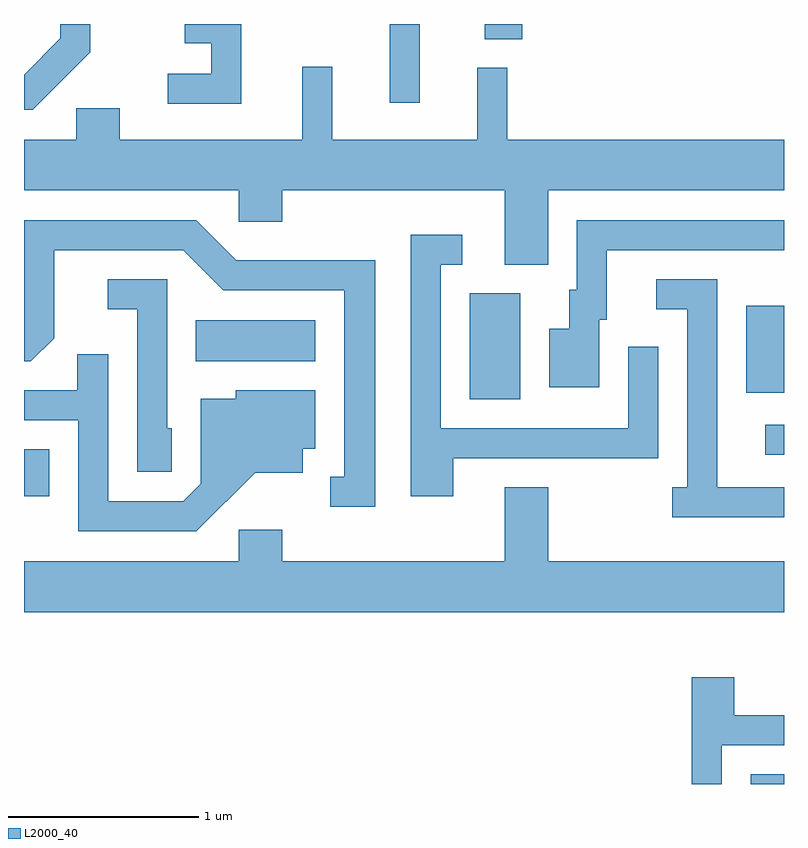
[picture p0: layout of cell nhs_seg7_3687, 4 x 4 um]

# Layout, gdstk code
import gdstk
lib = gdstk.Library(unit=1e-6, precision=1e-09)
def R(c, l, rs):  # rectangles x0, y0, x1, y1
    for r in rs: c.add(gdstk.rectangle(r[:2], r[2:], *l))
def P(c, l, *ps):  # polygons
    for p in ps: c.add(gdstk.Polygon(p, *l))
L2000_40 = (2000, 40)

nhs_seg7_3687 = lib.new_cell('nhs_seg7_3687')
R(nhs_seg7_3687, L2000_40, [(301.436,1762.252,301.611,1762.304), (297.611,1763.766,297.744,1764.014), (301.513,1763.986,301.611,1764.144), (299.956,1764.276,300.224,1764.834), (301.411,1764.311,301.611,1764.769), (298.516,1764.476,299.144,1764.694), (299.536,1765.838,299.694,1766.252), (300.036,1766.171,300.234,1766.252), (297.611,1766.251,297.649,1766.252)])
P(nhs_seg7_3687, L2000_40, [(298.754,1766.252),(298.456,1766.252),(298.456,1766.151),(298.596,1766.151),(298.596,1765.989),(298.368,1765.989),(298.368,1765.831),(298.754,1765.831)],
  [(297.959,1766.104),(297.959,1766.252),(297.801,1766.252),(297.801,1766.177),(297.611,1765.986),(297.611,1765.801),(297.657,1765.801)],
  [(300.369,1765.376),(301.611,1765.376),(301.611,1765.644),(300.154,1765.644),(300.154,1766.023),(299.996,1766.023),(299.996,1765.644),(299.234,1765.644),(299.234,1766.028),(299.076,1766.028),(299.076,1765.644),(298.114,1765.644),(298.114,1765.809),(297.886,1765.809),(297.886,1765.644),(297.611,1765.644),(297.611,1765.376),(298.741,1765.376),(298.741,1765.211),(298.969,1765.211),(298.969,1765.376),(300.141,1765.376),(300.141,1764.986),(300.369,1764.986)],
  [(300.639,1764.696),(300.679,1764.696),(300.679,1765.061),(301.611,1765.061),(301.611,1765.219),(300.521,1765.219),(300.521,1764.854),(300.481,1764.854),(300.481,1764.649),(300.376,1764.649),(300.376,1764.341),(300.639,1764.341)],
  [(299.459,1765.009),(298.727,1765.009),(298.517,1765.219),(297.611,1765.219),(297.611,1764.476),(297.647,1764.476),(297.769,1764.599),(297.769,1765.061),(298.449,1765.061),(298.659,1764.851),(299.296,1764.851),(299.296,1763.869),(299.223,1763.869),(299.223,1763.711),(299.459,1763.711)],
  [(299.869,1763.966),(300.949,1763.966),(300.949,1764.553),(300.791,1764.553),(300.791,1764.124),(299.804,1764.124),(299.804,1764.986),(299.918,1764.986),(299.918,1765.144),(299.646,1765.144),(299.646,1763.766),(299.869,1763.766)],
  [(301.611,1763.814),(301.259,1763.814),(301.259,1764.909),(300.938,1764.909),(300.938,1764.751),(301.101,1764.751),(301.101,1763.814),(301.023,1763.814),(301.023,1763.656),(301.611,1763.656)],
  [(298.389,1764.124),(298.364,1764.124),(298.364,1764.909),(298.053,1764.909),(298.053,1764.751),(298.206,1764.751),(298.206,1763.896),(298.389,1763.896)],
  [(298.827,1763.891),(299.079,1763.891),(299.079,1764.016),(299.144,1764.016),(299.144,1764.324),(298.726,1764.324),(298.726,1764.279),(298.541,1764.279),(298.541,1763.832),(298.449,1763.739),(298.054,1763.739),(298.054,1764.513),(297.891,1764.513),(297.891,1764.324),(297.611,1764.324),(297.611,1764.166),(297.896,1764.166),(297.896,1763.581),(298.517,1763.581)],
  [(301.611,1763.424),(300.369,1763.424),(300.369,1763.814),(300.141,1763.814),(300.141,1763.424),(298.969,1763.424),(298.969,1763.589),(298.741,1763.589),(298.741,1763.424),(297.611,1763.424),(297.611,1763.156),(301.611,1763.156)],
  [(301.284,1762.456),(301.611,1762.456),(301.611,1762.614),(301.349,1762.614),(301.349,1762.814),(301.126,1762.814),(301.126,1762.252),(301.284,1762.252)])

lib.write_gds('nhs_seg7_3687.gds')
